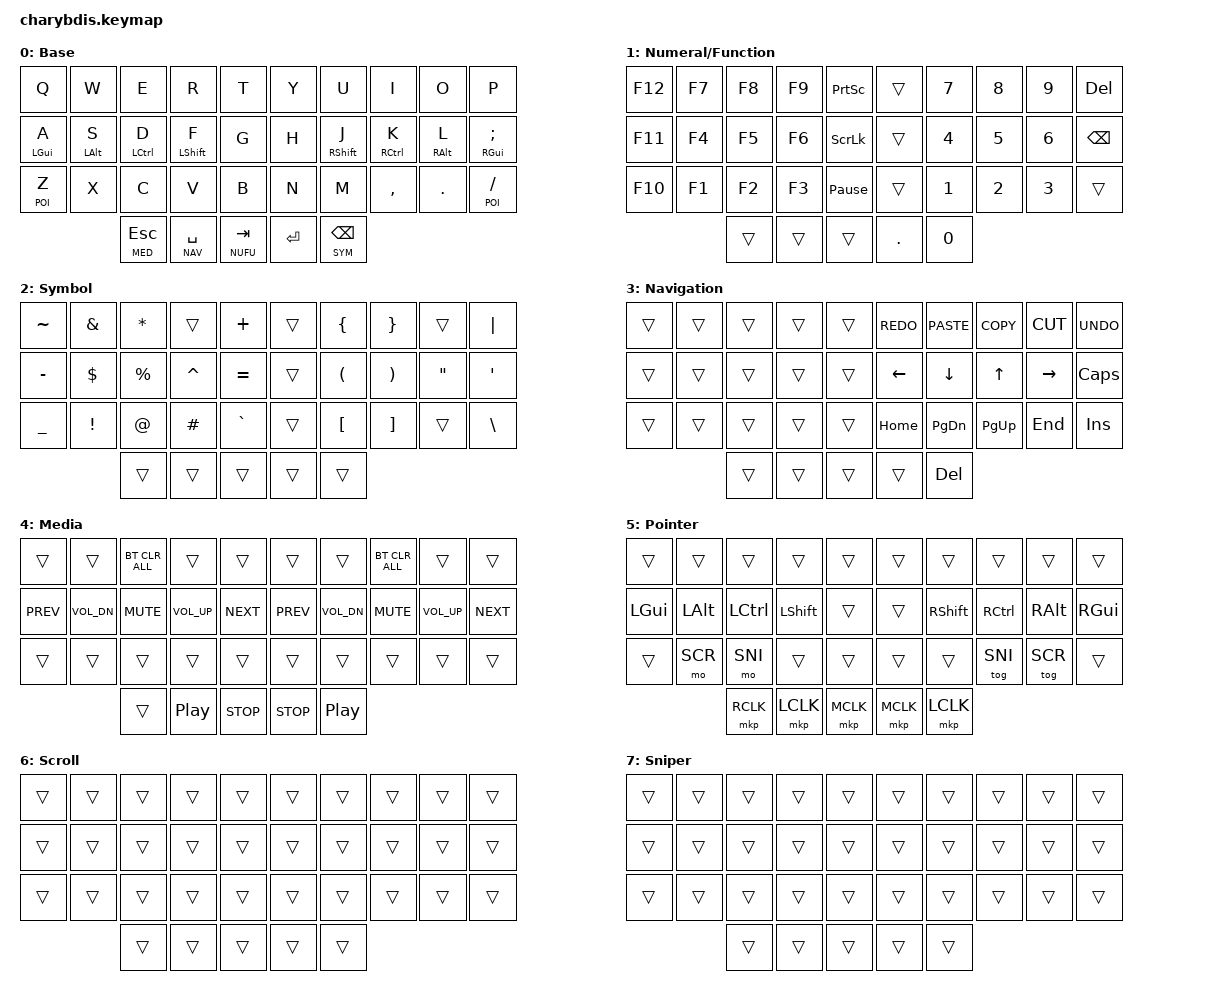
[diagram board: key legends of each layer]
#include <dt-bindings/zmk/mouse.h>
#include <behaviors/mouse_keys.dtsi>
#include <behaviors.dtsi>
#include <dt-bindings/zmk/bt.h>
#include <dt-bindings/zmk/keys.h>

#define BASE 0
#define NUFU 1
#define SYM 2
#define NAV 3
#define MED 4
#define POI 5
#define SCR 6
#define SNI 7

&sl {
  release-after-ms = <250>;
};

&mt {
    tapping-term-ms = <200>;
    require-prior-idle-ms = <150>;
};

/ {
    chosen { zmk,matrix_transform = &five_column_transform; };

    #include "combos.dtsi"

    behaviors {
        hml: homewrow_mods_left {
            compatible = "zmk,behavior-hold-tap";
            label = "HOMEROW_MODS_LEFT_HAND";
            bindings = <&kp>, <&kp>;

            #binding-cells = <2>;
            tapping-term-ms = <200>;
            hold-trigger-key-positions = <5 6 7 8 9 15 16 17 18 19 25 26 27 28 29 33 34>;
            flavor = "balanced";
            quick-tap-ms = <150>;
            require-prior-idle-ms = <125>;
            hold-trigger-on-release;
        };

        hmr: homewrow_mods_right {
            compatible = "zmk,behavior-hold-tap";
            label = "HOMEROW_MODS_RIGHT_HAND";
            bindings = <&kp>, <&kp>;

            #binding-cells = <2>;
            tapping-term-ms = <200>;
            hold-trigger-key-positions = <0 1 2 3 4 10 11 12 13 14 20 21 22 23 24 30 31 32>;
            flavor = "balanced";
            quick-tap-ms = <150>;
            require-prior-idle-ms = <125>;
            hold-trigger-on-release;
        };
    };


    keymap {
        compatible = "zmk,keymap";
        Base {
            label = "Base";
            bindings = <
              &kp       Q  &kp       W  &kp        E  &kp        R   &kp T            &kp Y     &kp        U  &kp        I  &kp       O  &kp               P  
              &hml LGUI A  &hml LALT S  &hml LCTRL D  &hml LSHFT F   &kp G            &kp H     &hml RSHFT J  &hml RCTRL K  &hml RALT L  &hml RGUI SEMICOLON  
              &lt   POI Z  &kp       X  &kp        C  &kp        V   &kp B            &kp N     &kp        M  &kp    COMMA  &kp     DOT  &lt POI SLASH
                                        &lt MED ESC   &lt NAV SPACE  &lt NUFU TAB     &kp ENTER &lt SYM BACKSPACE
            >;
        };

        NuFu {
            label = "Numeral/Function";
            bindings = <
                &kp F12  &kp F7  &kp F8  &kp F9 &kp PRINTSCREEN       &trans   &kp N7  &kp N8  &kp N9  &kp DELETE
                &kp F11  &kp F4  &kp F5  &kp F6 &kp SCROLLLOCK        &trans   &kp N4  &kp N5  &kp N6  &kp BACKSPACE
                &kp F10  &kp F1  &kp F2  &kp F3 &kp PAUSE_BREAK        &trans   &kp N1  &kp N2  &kp N3  &trans
                                &trans  &trans  &trans                 &kp DOT  &kp N0 
            >;
        };

        Symbol {
            label = "Symbol";
            bindings = <
              &kp TILDE &kp AMPS  &kp STAR   &trans    &kp PLUS        &trans &kp LBRC  &kp RBRC  &trans  &kp PIPE
              &kp MINUS &kp DLLR  &kp PRCNT  &kp CARET &kp EQUAL       &trans &kp LPAR  &kp RPAR  &kp DQT &kp APOS
              &kp UNDER &kp EXCL  &kp AT     &kp HASH  &kp GRAVE       &trans &kp LBKT  &kp RBKT  &trans  &kp BSLH
                                  &trans     &trans    &trans          &trans &trans
            >;
        };

        Navigation {
            label = "Navigation";
            bindings = <
                         &trans  &trans  &trans  &trans  &trans         &kp K_REDO   &kp K_PASTE      &kp K_COPY     &kp K_CUT    &kp K_UNDO          
                         &trans  &trans  &trans  &trans  &trans         &kp LEFT   &kp DOWN       &kp UP       &kp RIGHT  &kp CAPSLOCK 
                         &trans  &trans  &trans  &trans  &trans         &kp HOME   &kp PAGE_DOWN  &kp PAGE_UP  &kp END    &kp INS           
                                         &trans  &trans  &trans         &trans     &kp DELETE
            >;
        };

        Media {
            label = "Media";
            bindings = <
              &trans     &trans        &bt BT_CLR_ALL &trans       &trans            &trans      &trans        &bt BT_CLR_ALL  &trans        &trans
              &kp C_PREV &kp C_VOL_DN  &kp C_MUTE     &kp C_VOL_UP &kp C_NEXT        &kp C_PREV  &kp C_VOL_DN  &kp C_MUTE      &kp C_VOL_UP  &kp C_NEXT
              &trans     &trans        &trans         &trans       &trans            &trans      &trans        &trans          &trans        &trans
                                       &trans    &kp C_PLAY_PAUSE  &kp C_STOP        &kp C_STOP  &kp C_PLAY_PAUSE
            >;
        };

        Pointer {
            label = "Pointer";
            bindings = <
              &trans       &trans       &trans        &trans        &trans               &trans &trans        &trans        &trans       &trans
              &kp LGUI     &kp LALT     &kp LCTRL     &kp LSHFT     &trans               &trans &kp RSHFT     &kp RCTRL     &kp RALT     &kp RGUI
              &trans       &mo SCR      &mo SNI       &trans        &trans               &trans &trans        &tog SNI      &tog SCR     &trans
                                            &mkp RCLK  &mkp LCLK  &mkp MCLK         &mkp MCLK  &mkp LCLK
            >;
        };

        Scroll {
            label = "Scroll";
            bindings = <
                &trans  &trans  &trans  &trans  &trans    &trans  &trans  &trans  &trans  &trans
                &trans  &trans  &trans  &trans  &trans    &trans  &trans  &trans  &trans  &trans
                &trans  &trans  &trans  &trans  &trans    &trans  &trans  &trans  &trans  &trans
                                &trans  &trans  &trans    &trans  &trans
            >;
        };

        Sniper {
            label = "Sniper";
            bindings = <
                &trans  &trans  &trans  &trans  &trans    &trans  &trans  &trans  &trans  &trans
                &trans  &trans  &trans  &trans  &trans    &trans  &trans  &trans  &trans  &trans
                &trans  &trans  &trans  &trans  &trans    &trans  &trans  &trans  &trans  &trans
                                &trans  &trans  &trans    &trans  &trans
            >;
        };
    };
};
